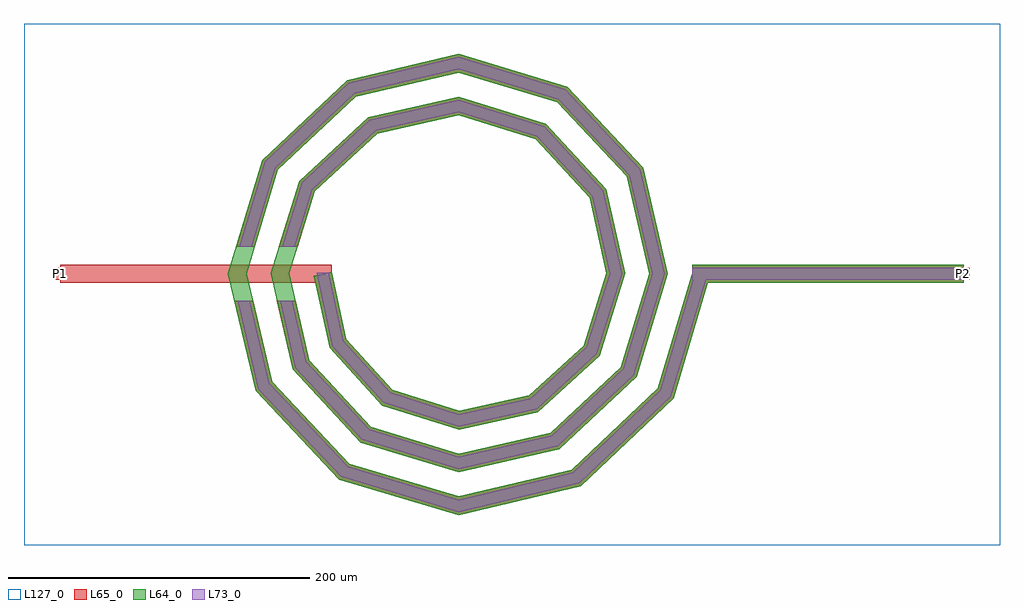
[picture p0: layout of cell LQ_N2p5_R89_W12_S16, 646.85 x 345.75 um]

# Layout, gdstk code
import gdstk
lib = gdstk.Library(unit=1e-6, precision=1e-09)
def R(c, l, rs):  # rectangles x0, y0, x1, y1
    for r in rs: c.add(gdstk.rectangle(r[:2], r[2:], *l))
def P(c, l, *ps):  # polygons
    for p in ps: c.add(gdstk.Polygon(p, *l))
L64_0 = (64, 0)
L65_0 = (65, 0)
L73_0 = (73, 0)
L127_0 = (127, 0)

lq_n2p5_r89_w12_s16 = lib.new_cell('LQ_N2p5_R89_W12_S16')
R(lq_n2p5_r89_w12_s16, L64_0, [(154.825,-6,334.825,6)])
P(lq_n2p5_r89_w12_s16, L64_0, [(-74.483,-43.344),(-44.018,-76.819),(0.282,-90.896),(46.866,-80.624),(82.94,-47.575),(97.976,0.262),(86.765,50.39),(51.13,89.062),(0.246,105.055),(-53.916,92.904),(-95.186,54.683),(-112.135,0.231),(-99.042,-57.444),(-58.235,-101.311),(0.218,-119.215),(60.973,-105.18),(107.436,-61.786),(126.295,0.206),(111.317,64.503),(65.335,113.562),(0.196,133.375),(-68.034,117.454),(-119.689,68.883),(-140.455,0.186),(-123.59,-71.567),(-72.431,-125.816),(0.178,-147.536),(75.099,-129.726),(131.944,-75.978),(155.075,1.712),(166.576,-1.712),(142.526,-82.487),(81.006,-140.656),(0.178,-159.954),(-78.954,-136.39),(-134.528,-77.458),(-152.874,0.186),(-130.254,75.421),(-73.91,128.401),(0.196,145.793),(71.889,124.117),(122.274,70.361),(138.713,0.206),(117.98,-68.358),(66.811,-116.148),(0.218,-131.632),(-64.828,-111.841),(-110.022,-63.259),(-124.551,0.231),(-105.703,61.3),(-59.707,103.897),(0.246,117.47),(57.772,99.563),(97.772,56.153),(110.389,0.262),(93.422,-54.247),(52.596,-91.649),(0.282,-103.308),(-50.724,-87.279),(-85.527,-49.037),(-95.885,-1.272),(-84.158,1.272)])
R(lq_n2p5_r89_w12_s16, L65_0, [(-264.022,-6,-84.022,6), (154.825,-6,334.825,6), (-268.022,-4,-260.022,4), (330.825,-4,338.825,4)])
P(lq_n2p5_r89_w12_s16, L65_0, [(-123.59,-71.567),(-72.431,-125.816),(0.178,-147.536),(75.1,-129.726),(131.944,-75.978),(155.075,1.712),(166.576,-1.712),(142.526,-82.487),(81.006,-140.656),(0.178,-159.955),(-78.954,-136.39),(-134.528,-77.458),(-148.577,-18),(-136.247,-18)],
  [(-99.043,-57.444),(-58.235,-101.311),(0.218,-119.215),(60.973,-105.18),(107.436,-61.786),(126.295,0.206),(111.317,64.503),(65.335,113.562),(0.196,133.375),(-68.035,117.454),(-119.689,68.884),(-134.987,18),(-147.518,18),(-130.254,75.421),(-73.91,128.401),(0.196,145.793),(71.889,124.117),(122.274,70.361),(138.713,0.206),(117.98,-68.358),(66.811,-116.148),(0.218,-131.632),(-64.828,-111.842),(-110.022,-63.26),(-120.379,-18),(-108.069,-18)],
  [(-44.018,-76.819),(0.282,-90.896),(46.866,-80.624),(82.94,-47.575),(97.976,0.262),(86.765,50.39),(51.13,89.062),(0.246,105.055),(-53.916,92.904),(-95.186,54.684),(-106.508,18),(-119.067,18),(-105.703,61.3),(-59.707,103.897),(0.246,117.47),(57.772,99.563),(97.772,56.153),(110.389,0.262),(93.422,-54.247),(52.596,-91.649),(0.282,-103.308),(-50.724,-87.279),(-85.527,-49.038),(-95.885,-1.272),(-84.158,1.272),(-74.483,-43.344)])
R(lq_n2p5_r89_w12_s16, L73_0, [(154.825,-4,334.825,4)])
P(lq_n2p5_r89_w12_s16, L73_0, [(-125.413,-72.549),(-73.518,-127.578),(0.119,-149.605),(76.084,-131.548),(133.707,-77.063),(156.992,1.141),(164.659,-1.141),(140.763,-81.402),(80.021,-138.835),(0.119,-157.885),(-77.867,-134.628),(-132.705,-76.476),(-146.522,-18),(-138.302,-18)],
  [(-100.872,-58.413),(-59.334,-103.066),(0.145,-121.285),(61.946,-107.008),(109.193,-62.881),(128.365,0.138),(113.143,65.48),(66.427,115.321),(0.131,135.445),(-69.014,119.278),(-121.45,69.973),(-137.076,18),(-145.43,18),(-128.493,74.331),(-72.931,126.577),(0.131,143.724),(70.797,122.358),(120.448,69.385),(136.643,0.138),(116.222,-67.263),(65.838,-114.32),(0.145,-129.563),(-63.729,-110.086),(-108.192,-62.29),(-118.327,-18),(-110.121,-18)],
  [(-45.136,-78.562),(0.188,-92.965),(47.821,-82.462),(84.687,-48.687),(100.045,0.175),(88.599,51.35),(52.237,90.812),(0.164,107.125),(-54.881,94.736),(-96.939,55.786),(-108.601,18),(-116.974,18),(-103.95,60.197),(-58.742,102.065),(0.164,115.401),(56.665,97.813),(95.938,55.192),(108.32,0.175),(91.675,-53.135),(51.641,-89.812),(0.188,-101.24),(-49.606,-85.536),(-83.687,-48.089),(-93.931,0.848),(-86.113,0.848),(-76.324,-44.293)])
R(lq_n2p5_r89_w12_s16, L127_0, [(-288.022,-179.955,358.825,165.793)])
lq_n2p5_r89_w12_s16.add(gdstk.Label('P2', (334.825,0), layer=65, texttype=0))
lq_n2p5_r89_w12_s16.add(gdstk.Label('P1', (-264.022,0), layer=65, texttype=0))
lq_n2p5_r89_w12_s16.add(gdstk.Label('P2', (338.825,0), layer=145, texttype=0))
lq_n2p5_r89_w12_s16.add(gdstk.Label('P1', (-268.022,0), layer=145, texttype=0))

lib.write_gds('LQ_N2p5_R89_W12_S16.gds')
